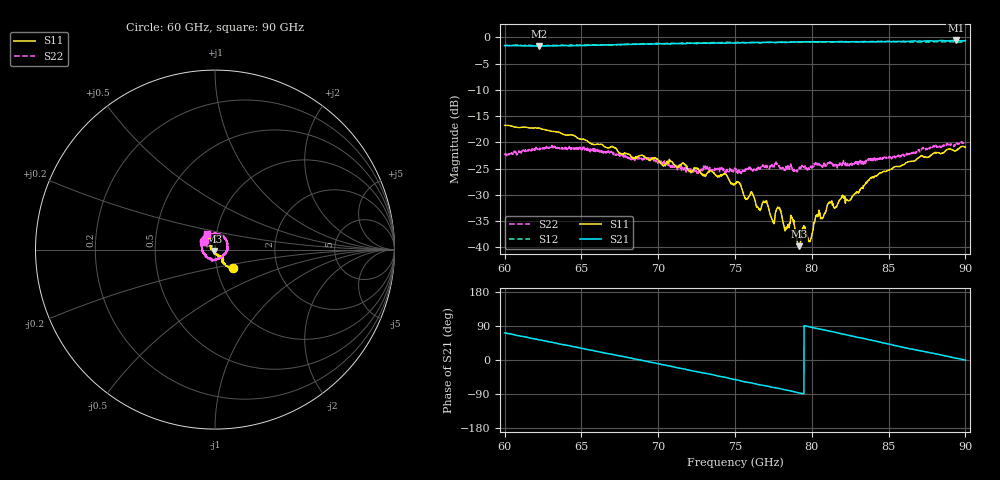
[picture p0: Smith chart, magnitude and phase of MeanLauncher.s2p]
# GHZ S DB R 50.0
! Port[1] = PROBE
! Port[2] = PKG
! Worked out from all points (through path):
!   2001 points, 60 GHz to 90 GHz, reference 50 ohm
!   highest |S21| = -0.58 dB at 89.37 GHz (marker M1); lowest = -1.7 dB at 62.23 GHz (marker M2)
!   lowest |S11| = -39.8 dB at 79.17 GHz (marker M3), VSWR 1.02, Z = 49.3 - j0.779 ohm
!   |S11| at or under -10 dB: start of sweep to end of sweep
!   |S22| runs from -25.9 to -19.9 dB; largest |S21 - S12| = 0.059
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60  -16.74 -45.2  -1.56 71.4  -1.53 72.8  -22.18 139.4
62.235  -17.26 -50.1  -1.67 53.3  -1.51 54.4  -21.29 102.4
65.01  -19.40 -56.9  -1.56 30.9  -1.49 32.1  -21.22 61.7
70.005  -23.40 -48.7  -1.25 -9.9  -1.14 -9.0  -23.66 -6.4
75  -27.88 -67.3  -1.09 -51.4  -0.97 -50.2  -24.94 -75.8
76.14  -29.85 -70.5  -0.96 -61.2  -0.95 -59.4  -25.46 -87.0
76.53  -32.60 -81.7  -0.95 -64.9  -1.02 -63.2  -24.71 -88.9
76.995  -31.26 -81.9  -0.95 -68.0  -0.97 -66.4  -24.66 -95.7
77.43  -34.75 -94.7  -0.93 -72.1  -0.97 -70.5  -24.50 -102.3
77.82  -32.41 -94.6  -0.91 -74.7  -0.95 -73.2  -24.32 -109.6
78.27  -36.74 -90.1  -0.91 -78.7  -0.97 -77.6  -25.31 -109.6
78.75  -34.69 -105.1  -0.88 -82.8  -0.90 -81.3  -25.23 -117.4
79.17  -39.76 -129.8  -0.85 -86.9  -0.90 -85.3  -25.00 -118.4
79.335  -37.15 -145.9  -0.87 -88.1  -0.89 -86.7  -24.45 -118.5
79.65  -37.20 -157.3  -0.82 89.3  -0.87 90.5  -24.90 -124.3
80.01  -37.54 168.7  -0.85 86.0  -0.87 87.0  -24.39 -127.0
80.37  -34.05 176.8  -0.85 83.0  -0.88 84.3  -24.21 -131.4
81.15  -31.31 160.9  -0.84 76.3  -0.85 77.7  -24.06 -139.3
82.455  -31.09 140.0  -0.84 64.7  -0.84 66.1  -24.28 -154.4
85.005  -25.26 129.0  -0.80 42.0  -0.75 44.5  -22.88 178.7
89.37  -21.62 117.3  -0.58 4.6  -0.87 6.9  -20.34 127.5
90  -20.93 118.0  -0.62 -0.3  -0.83 1.5  -20.20 116.1
